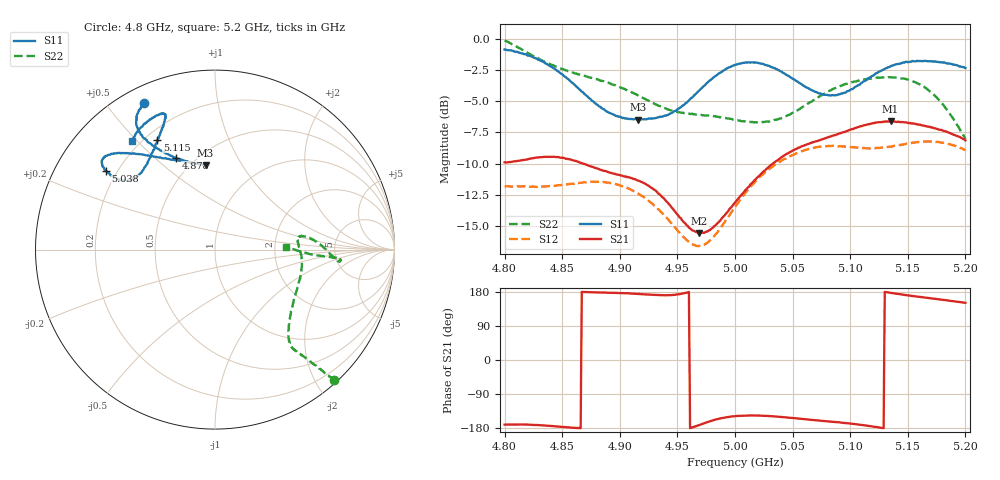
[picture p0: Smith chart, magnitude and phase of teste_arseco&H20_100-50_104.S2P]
! Network Analyzer HP8722D
! Hewlett-Packard
! Data name: Linha & Wilkinson
! Saver's name: Rodrigo Anjos
! Comments: Teste da utilização de aquisição
! continua pelo VNA HP8722D
! Time and date: 6/5/2025 13:26
!  Frequency  S11  S21  S12  S22
# HZ  S  MA R 50
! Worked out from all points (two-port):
!   401 points, 4.8 GHz to 5.2 GHz, reference 50 ohm
!   highest |S21| = -6.60 dB at 5.135 GHz (marker M1); lowest = -15.5 dB at 4.969 GHz (marker M2)
!   |S21| within 3 dB of the highest: 4.822 GHz to 4.853 GHz (30.92 MHz wide, 0.639 % of centre); 5.039 GHz to end of sweep (the widest 2 of 3)
!   lowest |S11| = -6.5 dB at 4.916 GHz (marker M3), VSWR 2.81, Z = 29.1 + j35.5 ohm
!   |S11| at or under -10 dB: nowhere
!   |S22| runs from -8.0 to -0.1 dB; largest |S21 - S12| = 0.83
!   S11 on the Smith chart (normalised r, x): 4.8 GHz: 0.07, +0.63; 4.878 GHz: 0.40, +0.59; 5.038 GHz: 0.16, +0.32; 5.115 GHz: 0.25, +0.58; 5.2 GHz: 0.17, +0.48
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4.8e9  0.9058 115.8  0.3203 -170.5  0.2572 -86.1  0.9839 -47.5
4.819e9  0.8631 120.4  0.3291 -170.5  0.2556 -82.0  0.8831 -48.8
4.835e9  0.7988 122.5  0.3369 -172.9  0.2565 -76.6  0.8079 -49.8
4.867e9  0.6143 117.8  0.3177 179.8  0.2654 -67.4  0.7148 -51.6
4.878e9  0.5547 112.9  0.3053 178.4  0.2675 -66.1  0.6917 -51.9
4.898e9  0.4908 102.2  0.2864 177.0  0.2604 -66.4  0.645 -50.4
4.916e9  0.475 96.3  0.2708 174.2  0.2402 -68.3  0.5929 -46.1
4.934e9  0.4855 99.2  0.2393 171.1  0.2072 -69.5  0.539 -37.5
4.951e9  0.5244 110.1  0.1956 173.3  0.1693 -65.1  0.5087 -26.3
4.969e9  0.622 123.4  0.1671 -171.4  0.1483 -48.0  0.4971 -15.1
4.981e9  0.6982 129.9  0.1759 -159.2  0.1607 -34.0  0.4901 -8.8
5e9  0.7861 137.3  0.2212 -148.4  0.2126 -21.5  0.4746 -0.2
5.019e9  0.8023 141.8  0.2775 -146.7  0.2719 -18.4  0.4628 5.8
5.038e9  0.7476 144.2  0.3295 -149.6  0.321 -18.4  0.4772 8.8
5.067e9  0.621 141.8  0.3851 -158.1  0.3655 -20.6  0.5619 4.6
5.088e9  0.5939 133.0  0.4135 -163.9  0.372 -23.8  0.6373 -1.7
5.115e9  0.6919 117.7  0.4543 -173.5  0.3643 -26.8  0.6899 -5.3
5.134e9  0.7702 111.4  0.4655 177.8  0.3697 -28.7  0.7015 -4.8
5.135e9  0.7758 111.1  0.4677 177.3  0.3703 -28.8  0.701 -4.6
5.163e9  0.8127 113.0  0.4494 165.5  0.387 -35.7  0.6455 -3.7
5.181e9  0.8043 119.5  0.4277 158.5  0.3832 -41.3  0.5419 -2.8
5.2e9  0.7631 127.4  0.392 150.8  0.3587 -46.3  0.3967 2.4
